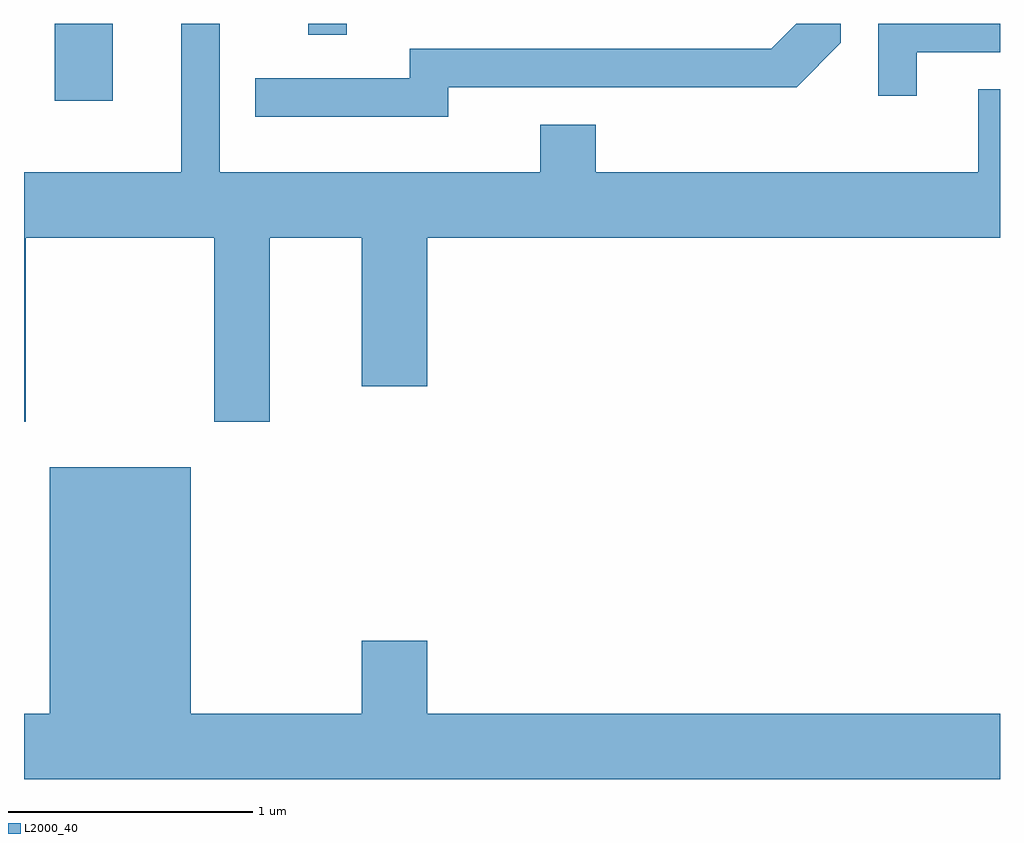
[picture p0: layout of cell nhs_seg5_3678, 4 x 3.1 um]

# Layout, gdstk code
import gdstk
lib = gdstk.Library(unit=1e-6, precision=1e-09)
def R(c, l, rs):  # rectangles x0, y0, x1, y1
    for r in rs: c.add(gdstk.rectangle(r[:2], r[2:], *l))
def P(c, l, *ps):  # polygons
    for p in ps: c.add(gdstk.Polygon(p, *l))
L2000_40 = (2000, 40)

nhs_seg5_3678 = lib.new_cell('nhs_seg5_3678')
R(nhs_seg5_3678, L2000_40, [(293.736,1501.756,293.974,1502.072), (294.776,1502.028,294.934,1502.072)])
P(nhs_seg5_3678, L2000_40, [(293.619,1501.196),(294.391,1501.196),(294.391,1500.441),(294.619,1500.441),(294.619,1501.196),(294.996,1501.196),(294.996,1500.586),(295.264,1500.586),(295.264,1501.196),(297.611,1501.196),(297.611,1501.804),(297.521,1501.804),(297.521,1501.464),(295.954,1501.464),(295.954,1501.659),(295.726,1501.659),(295.726,1501.464),(294.414,1501.464),(294.414,1502.072),(294.256,1502.072),(294.256,1501.464),(293.611,1501.464),(293.611,1500.441),(293.619,1500.441)],
  [(297.269,1501.956),(297.611,1501.956),(297.611,1502.072),(297.111,1502.072),(297.111,1501.778),(297.269,1501.778)],
  [(295.349,1501.811),(296.777,1501.811),(296.959,1501.994),(296.959,1502.072),(296.776,1502.072),(296.674,1501.969),(295.191,1501.969),(295.191,1501.849),(294.558,1501.849),(294.558,1501.691),(295.349,1501.691)],
  [(297.611,1499.244),(295.264,1499.244),(295.264,1499.544),(294.996,1499.544),(294.996,1499.244),(294.294,1499.244),(294.294,1500.254),(293.716,1500.254),(293.716,1499.244),(293.611,1499.244),(293.611,1498.976),(297.611,1498.976)])

lib.write_gds('nhs_seg5_3678.gds')
